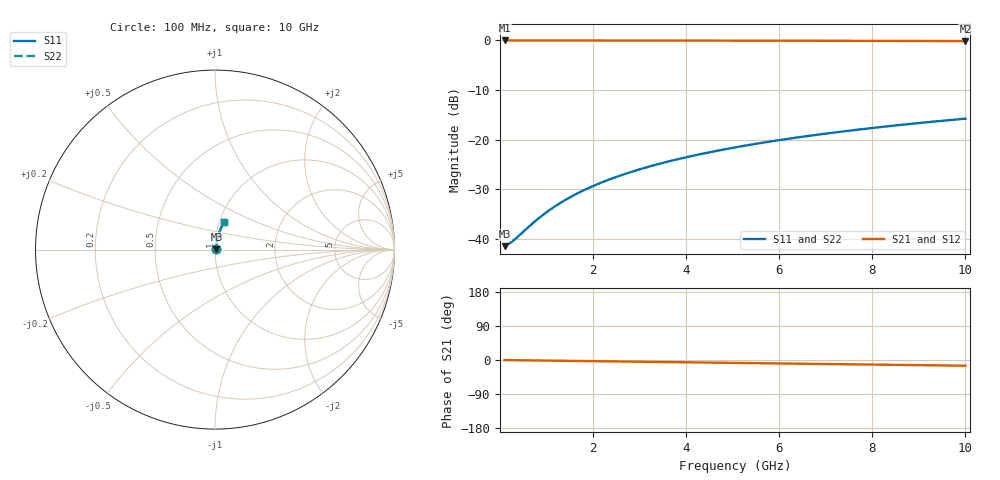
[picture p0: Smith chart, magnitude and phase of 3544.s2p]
# Hz S RI R 50.00
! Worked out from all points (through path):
!   100 points, 100 MHz to 10 GHz, reference 50 ohm
!   highest |S21| = -0.07 dB at 100 MHz (marker M1); lowest = -0.2 dB at 10 GHz (marker M2)
!   group delay of S21, straight-line fit = 4.19 ps
!   lowest |S11| = -41.4 dB at 100 MHz (marker M3), VSWR 1.02, Z = 50.8 + j0.166 ohm
!   |S11| at or under -10 dB: start of sweep to end of sweep
!   |S22| runs from -41.4 to -15.8 dB; largest |S21 - S12| = 0
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1e8  0.00832 0.00163  0.9917 -0.00263  0.9917 -0.00263  0.00832 0.00163
2e8  0.00839 0.00326  0.9916 -0.00525  0.9916 -0.00525  0.00839 0.00326
3e8  0.00845 0.00488  0.9915 -0.00788  0.9915 -0.00788  0.00845 0.00488
8e8  0.00881 0.013  0.9911 -0.021  0.9911 -0.021  0.00881 0.013
9e8  0.00891 0.0146  0.991 -0.0236  0.991 -0.0236  0.00891 0.0146
1.1e9  0.00911 0.0179  0.9908 -0.0289  0.9908 -0.0289  0.00911 0.0179
1.4e9  0.00948 0.0228  0.9904 -0.0367  0.9904 -0.0367  0.00948 0.0228
1.6e9  0.00976 0.026  0.9901 -0.042  0.9901 -0.042  0.00976 0.026
1.8e9  0.0101 0.0292  0.9897 -0.0472  0.9897 -0.0472  0.0101 0.0292
2.1e9  0.0106 0.0341  0.9891 -0.055  0.9891 -0.055  0.0106 0.0341
2.5e9  0.0114 0.0405  0.9882 -0.0655  0.9882 -0.0655  0.0114 0.0405
2.9e9  0.0124 0.047  0.9871 -0.0759  0.9871 -0.0759  0.0124 0.047
3.4e9  0.0138 0.055  0.9856 -0.0889  0.9856 -0.0889  0.0138 0.055
3.8e9  0.0151 0.0613  0.9842 -0.0993  0.9842 -0.0993  0.0151 0.0613
4.2e9  0.0164 0.0677  0.9826 -0.1096  0.9826 -0.1096  0.0164 0.0677
4.6e9  0.018 0.074  0.9809 -0.1199  0.9809 -0.1199  0.018 0.074
5.1e9  0.0201 0.0818  0.9786 -0.1327  0.9786 -0.1327  0.0201 0.0818
5.9e9  0.0238 0.0942  0.9744 -0.1531  0.9744 -0.1531  0.0238 0.0942
6.7e9  0.0281 0.1063  0.9696 -0.1733  0.9696 -0.1733  0.0281 0.1063
7.5e9  0.0329 0.1183  0.9642 -0.1933  0.9642 -0.1933  0.0329 0.1183
8.4e9  0.0388 0.1315  0.9576 -0.2155  0.9576 -0.2155  0.0388 0.1315
1e10  0.0508 0.1541  0.944 -0.2543  0.944 -0.2543  0.0508 0.1541
